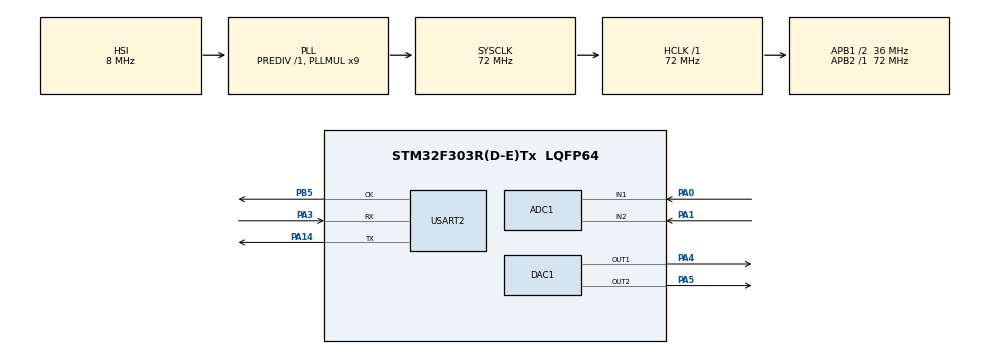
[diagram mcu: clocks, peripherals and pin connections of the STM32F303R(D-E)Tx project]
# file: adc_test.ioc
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ADC1.Channel-0\#ChannelRegularConversion=ADC_CHANNEL_1
ADC1.Channel-2\#ChannelRegularConversion=ADC_CHANNEL_1
ADC1.ContinuousConvMode=DISABLE
ADC1.NbrOfConversion=2
ADC1.NbrOfConversionFlag=1
ADC1.Offset-0\#ChannelRegularConversion=0
ADC1.Offset-2\#ChannelRegularConversion=0
ADC1.OffsetNumber-0\#ChannelRegularConversion=ADC_OFFSET_NONE
ADC1.OffsetNumber-2\#ChannelRegularConversion=ADC_OFFSET_NONE
ADC1.Rank-0\#ChannelRegularConversion=1
ADC1.Rank-2\#ChannelRegularConversion=2
ADC1.SamplingTime-0\#ChannelRegularConversion=ADC_SAMPLETIME_1CYCLE_5
ADC1.SamplingTime-2\#ChannelRegularConversion=ADC_SAMPLETIME_1CYCLE_5
ADC1.SamplingTimeOPAMP-2\#ChannelRegularConversion=ADC_SAMPLETIME_61CYCLES_5
ADC1.master=1
Dma.ADC1.0.Direction=DMA_PERIPH_TO_MEMORY
Dma.ADC1.0.Instance=DMA1_Channel1
Dma.ADC1.0.MemDataAlignment=DMA_MDATAALIGN_HALFWORD
Dma.ADC1.0.MemInc=DMA_MINC_ENABLE
Dma.ADC1.0.Mode=DMA_NORMAL
Dma.ADC1.0.PeriphDataAlignment=DMA_PDATAALIGN_HALFWORD
Dma.ADC1.0.PeriphInc=DMA_PINC_DISABLE
Dma.ADC1.0.Priority=DMA_PRIORITY_LOW
Dma.Request0=ADC1
Mcu.Family=STM32F3
Mcu.Name=STM32F303R(D-E)Tx
Mcu.Package=LQFP64
NVIC.DMA1_Channel1_IRQn=true\:0\:0\:false\:false\:true\:false\:true\:true
NVIC.PriorityGroup=NVIC_PRIORITYGROUP_4
PA0.Mode=IN1-Single-Ended
PA0.Signal=ADC1_IN1
PA1.Mode=IN2-Single-Ended
PA1.Signal=ADC1_IN2
PA14.Mode=Synchronous
PA14.Signal=USART2_TX
PA3.Mode=Synchronous
PA3.Signal=USART2_RX
PA4.Signal=COMP_DAC11_group
PA5.Signal=COMP_DAC12_group
PB5.Mode=Synchronous
PB5.Signal=USART2_CK
ProjectManager.HeapSize=0x200
ProjectManager.StackSize=0x400
ProjectManager.TargetToolchain=STM32CubeIDE
RCC.AHBFreq_Value=72000000
RCC.APB1CLKDivider=RCC_HCLK_DIV2
RCC.APB1Freq_Value=36000000
RCC.APB1TimFreq_Value=72000000
RCC.APB2Freq_Value=72000000
RCC.APB2TimFreq_Value=72000000
RCC.CortexFreq_Value=72000000
RCC.HCLKFreq_Value=72000000
RCC.HSE_VALUE=8000000
RCC.HSI_VALUE=8000000
RCC.LSE_VALUE=32768
RCC.PLLMUL=RCC_PLL_MUL9
RCC.SYSCLKFreq_VALUE=72000000
RCC.SYSCLKSourceVirtual=RCC_SYSCLKSOURCE_PLLCLK
RCC.USBFreq_Value=72000000
SH.COMP_DAC11_group.0=DAC1_OUT1,DAC_OUT1
SH.COMP_DAC12_group.0=DAC1_OUT2,Enable_DAC_OUT2
TIM2.CounterMode=TIM_COUNTERMODE_UP
TIM2.Prescaler=1499
USART2.VirtualMode-Synchronous=VM_SYNC
VP_TIM2_VS_ClockSourceINT.Mode=Internal
board=custom

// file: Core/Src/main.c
/* USER CODE BEGIN Header */
/**
  ******************************************************************************
  * @file           : main.c
  * @brief          : Main program body
  ******************************************************************************
  * @attention
  *
  * Copyright (c) 2022 STMicroelectronics.
  * All rights reserved.
  *
  * This software is licensed under terms that can be found in the LICENSE file
  * in the root directory of this software component.
  * If no LICENSE file comes with this software, it is provided AS-IS.
  *
  ******************************************************************************
  */
/* USER CODE END Header */
#include "main.h"

/* USER CODE BEGIN PD */
#define buff_len (100)
#define order 5
/* USER CODE END PD */

 ADC_HandleTypeDef hadc1;
DMA_HandleTypeDef hdma_adc1;

DAC_HandleTypeDef hdac1;

TIM_HandleTypeDef htim2;

USART_HandleTypeDef husart2;

/* USER CODE BEGIN PV */
volatile uint16_t adc_result_dma[2];
const int adc_channel_count = sizeof(adc_result_dma)/sizeof(adc_result_dma[0]);
volatile int adc_conversion_complete = 0;
char tx_buff[buff_len];
uint16_t x[order];
float h[order];

/* USER CODE END PV */

void SystemClock_Config(void);
static void MX_GPIO_Init(void);
static void MX_DMA_Init(void);
static void MX_ADC1_Init(void);
static void MX_USART2_Init(void);
static void MX_DAC1_Init(void);
static void MX_TIM2_Init(void);

int main(void)
{

  /* MCU Configuration--------------------------------------------------------*/

  /* Reset of all peripherals, Initializes the Flash interface and the Systick. */
  HAL_Init();

  /* Configure the system clock */
  SystemClock_Config();

  /* Initialize all configured peripherals */
  MX_GPIO_Init();
  MX_DMA_Init();
  MX_ADC1_Init();
  MX_USART2_Init();
  MX_DAC1_Init();
  MX_TIM2_Init();

  /* Infinite loop */
  while (1)
  {

    /* USER CODE BEGIN 3 */
	  float y = 0;
	  HAL_TIM_Base_Start(&htim2);
	  __HAL_TIM_SET_COUNTER(&htim2,0);
//	  float millis_start = HAL_GetTick();
	  for(uint16_t i = 0; i < order; i++) {
		  y = y + x[i]*h[order-i-1];
		  x[i] = x[i+1];
	  }
	  HAL_ADC_Start_DMA(&hadc1, (uint16_t*)adc_result_dma, adc_channel_count); //set adc
	  while(adc_conversion_complete == 0) {

	  }
	  adc_conversion_complete = 0;

	  x[order] = adc_result_dma[0];

//	  HAL_DAC_SetValue(&hdac1, DAC_CHANNEL_1, DAC_ALIGN_12B_R, (int)y);
//	  HAL_DAC_SetValue(&hdac1, DAC_CHANNEL_2, DAC_ALIGN_12B_R, (int)y);

	  while(__HAL_TIM_GET_COUNTER(&htim2) < 1){
	  	  	}

//	  float millis_end = HAL_GetTick();
	  snprintf(tx_buff, buff_len, "CH1: %d   CH2: %d   t: %d\r\n", adc_result_dma[0], adc_result_dma[1], __HAL_TIM_GET_COUNTER(&htim2));
	  HAL_USART_Transmit(&husart2, (uint8_t*)tx_buff, strlen(tx_buff), HAL_MAX_DELAY);
  }
  /* USER CODE END 3 */
}

void SystemClock_Config(void)
{
  RCC_OscInitTypeDef RCC_OscInitStruct = {0};
  RCC_ClkInitTypeDef RCC_ClkInitStruct = {0};
  RCC_PeriphCLKInitTypeDef PeriphClkInit = {0};

  /** Initializes the RCC Oscillators according to the specified parameters
  * in the RCC_OscInitTypeDef structure.
  */
  RCC_OscInitStruct.OscillatorType = RCC_OSCILLATORTYPE_HSI;
  RCC_OscInitStruct.HSIState = RCC_HSI_ON;
  RCC_OscInitStruct.HSICalibrationValue = RCC_HSICALIBRATION_DEFAULT;
  RCC_OscInitStruct.PLL.PLLState = RCC_PLL_ON;
  RCC_OscInitStruct.PLL.PLLSource = RCC_PLLSOURCE_HSI;
  RCC_OscInitStruct.PLL.PLLMUL = RCC_PLL_MUL9;
  RCC_OscInitStruct.PLL.PREDIV = RCC_PREDIV_DIV1;
  if (HAL_RCC_OscConfig(&RCC_OscInitStruct) != HAL_OK)
  {
    Error_Handler();
  }

  /** Initializes the CPU, AHB and APB buses clocks
  */
  RCC_ClkInitStruct.ClockType = RCC_CLOCKTYPE_HCLK|RCC_CLOCKTYPE_SYSCLK
                              |RCC_CLOCKTYPE_PCLK1|RCC_CLOCKTYPE_PCLK2;
  RCC_ClkInitStruct.SYSCLKSource = RCC_SYSCLKSOURCE_PLLCLK;
  RCC_ClkInitStruct.AHBCLKDivider = RCC_SYSCLK_DIV1;
  RCC_ClkInitStruct.APB1CLKDivider = RCC_HCLK_DIV2;
  RCC_ClkInitStruct.APB2CLKDivider = RCC_HCLK_DIV1;

  if (HAL_RCC_ClockConfig(&RCC_ClkInitStruct, FLASH_LATENCY_2) != HAL_OK)
  {
    Error_Handler();
  }
  PeriphClkInit.PeriphClockSelection = RCC_PERIPHCLK_USART2|RCC_PERIPHCLK_ADC12
                              |RCC_PERIPHCLK_TIM2;
  PeriphClkInit.Usart2ClockSelection = RCC_USART2CLKSOURCE_PCLK1;
  PeriphClkInit.Adc12ClockSelection = RCC_ADC12PLLCLK_DIV1;
  PeriphClkInit.Tim2ClockSelection = RCC_TIM2CLK_HCLK;
  if (HAL_RCCEx_PeriphCLKConfig(&PeriphClkInit) != HAL_OK)
  {
    Error_Handler();
  }
}

static void MX_ADC1_Init(void)
{

  ADC_MultiModeTypeDef multimode = {0};
  ADC_ChannelConfTypeDef sConfig = {0};

  /** Common config
  */
  hadc1.Instance = ADC1;
  hadc1.Init.ClockPrescaler = ADC_CLOCK_ASYNC_DIV1;
  hadc1.Init.Resolution = ADC_RESOLUTION_12B;
  hadc1.Init.ScanConvMode = ADC_SCAN_ENABLE;
  hadc1.Init.ContinuousConvMode = DISABLE;
  hadc1.Init.DiscontinuousConvMode = DISABLE;
  hadc1.Init.ExternalTrigConvEdge = ADC_EXTERNALTRIGCONVEDGE_NONE;
  hadc1.Init.ExternalTrigConv = ADC_SOFTWARE_START;
  hadc1.Init.DataAlign = ADC_DATAALIGN_RIGHT;
  hadc1.Init.NbrOfConversion = 2;
  hadc1.Init.DMAContinuousRequests = DISABLE;
  hadc1.Init.EOCSelection = ADC_EOC_SINGLE_CONV;
  hadc1.Init.LowPowerAutoWait = DISABLE;
  hadc1.Init.Overrun = ADC_OVR_DATA_OVERWRITTEN;
  if (HAL_ADC_Init(&hadc1) != HAL_OK)
  {
    Error_Handler();
  }

  /** Configure the ADC multi-mode
  */
  multimode.Mode = ADC_MODE_INDEPENDENT;
  if (HAL_ADCEx_MultiModeConfigChannel(&hadc1, &multimode) != HAL_OK)
  {
    Error_Handler();
  }

  /** Configure Regular Channel
  */
  sConfig.Channel = ADC_CHANNEL_1;
  sConfig.Rank = ADC_REGULAR_RANK_1;
  sConfig.SingleDiff = ADC_SINGLE_ENDED;
  sConfig.SamplingTime = ADC_SAMPLETIME_1CYCLE_5;
  sConfig.OffsetNumber = ADC_OFFSET_NONE;
  sConfig.Offset = 0;
  if (HAL_ADC_ConfigChannel(&hadc1, &sConfig) != HAL_OK)
  {
    Error_Handler();
  }

  /** Configure Regular Channel
  */
  sConfig.Rank = ADC_REGULAR_RANK_2;
  if (HAL_ADC_ConfigChannel(&hadc1, &sConfig) != HAL_OK)
  {
    Error_Handler();
  }

}

static void MX_DAC1_Init(void)
{

  DAC_ChannelConfTypeDef sConfig = {0};

  /** DAC Initialization
  */
  hdac1.Instance = DAC1;
  if (HAL_DAC_Init(&hdac1) != HAL_OK)
  {
    Error_Handler();
  }

  /** DAC channel OUT1 config
  */
  sConfig.DAC_Trigger = DAC_TRIGGER_NONE;
  sConfig.DAC_OutputBuffer = DAC_OUTPUTBUFFER_ENABLE;
  if (HAL_DAC_ConfigChannel(&hdac1, &sConfig, DAC_CHANNEL_1) != HAL_OK)
  {
    Error_Handler();
  }

  /** DAC channel OUT2 config
  */
  if (HAL_DAC_ConfigChannel(&hdac1, &sConfig, DAC_CHANNEL_2) != HAL_OK)
  {
    Error_Handler();
  }

}

static void MX_TIM2_Init(void)
{

  TIM_ClockConfigTypeDef sClockSourceConfig = {0};
  TIM_MasterConfigTypeDef sMasterConfig = {0};

  htim2.Instance = TIM2;
  htim2.Init.Prescaler = 1499;
  htim2.Init.CounterMode = TIM_COUNTERMODE_UP;
  htim2.Init.Period = 4294967295;
  htim2.Init.ClockDivision = TIM_CLOCKDIVISION_DIV1;
  htim2.Init.AutoReloadPreload = TIM_AUTORELOAD_PRELOAD_DISABLE;
  if (HAL_TIM_Base_Init(&htim2) != HAL_OK)
  {
    Error_Handler();
  }
  sClockSourceConfig.ClockSource = TIM_CLOCKSOURCE_INTERNAL;
  if (HAL_TIM_ConfigClockSource(&htim2, &sClockSourceConfig) != HAL_OK)
  {
    Error_Handler();
  }
  sMasterConfig.MasterOutputTrigger = TIM_TRGO_RESET;
  sMasterConfig.MasterSlaveMode = TIM_MASTERSLAVEMODE_DISABLE;
  if (HAL_TIMEx_MasterConfigSynchronization(&htim2, &sMasterConfig) != HAL_OK)
  {
    Error_Handler();
  }

}

static void MX_USART2_Init(void)
{

  husart2.Instance = USART2;
  husart2.Init.BaudRate = 38400;
  husart2.Init.WordLength = USART_WORDLENGTH_8B;
  husart2.Init.StopBits = USART_STOPBITS_1;
  husart2.Init.Parity = USART_PARITY_NONE;
  husart2.Init.Mode = USART_MODE_TX_RX;
  husart2.Init.CLKPolarity = USART_POLARITY_LOW;
  husart2.Init.CLKPhase = USART_PHASE_1EDGE;
  husart2.Init.CLKLastBit = USART_LASTBIT_DISABLE;
  if (HAL_USART_Init(&husart2) != HAL_OK)
  {
    Error_Handler();
  }

}

static void MX_DMA_Init(void)
{

  /* DMA controller clock enable */
  __HAL_RCC_DMA1_CLK_ENABLE();

  /* DMA interrupt init */
  /* DMA1_Channel1_IRQn interrupt configuration */
  HAL_NVIC_SetPriority(DMA1_Channel1_IRQn, 0, 0);
  HAL_NVIC_EnableIRQ(DMA1_Channel1_IRQn);

}

static void MX_GPIO_Init(void)
{

  /* GPIO Ports Clock Enable */
  __HAL_RCC_GPIOA_CLK_ENABLE();
  __HAL_RCC_GPIOB_CLK_ENABLE();

}

/* USER CODE BEGIN 4 */
void HAL_ADC_ConvCpltCallback(ADC_HandleTypeDef *hadc) {
	adc_conversion_complete = 1;
}

/* USER CODE END 4 */

void Error_Handler(void)
{
  __disable_irq();
  while (1)
  {
  }
}
